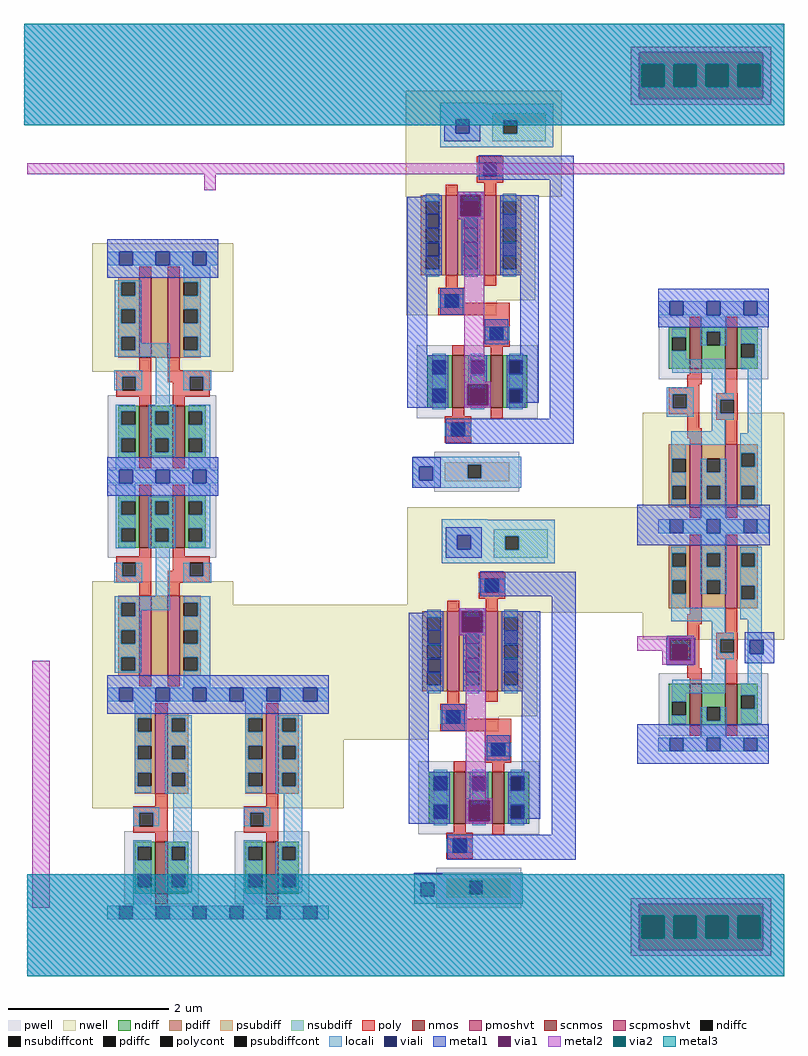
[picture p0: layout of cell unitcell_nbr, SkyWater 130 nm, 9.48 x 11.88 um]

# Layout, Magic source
magic
tech sky130A
magscale 1 2
<< nwell >>
rect -62 -444 416 -258
rect 762 -278 1020 -14
rect -62 -452 434 -444
rect 202 -594 434 -452
<< locali >>
rect 1234 -346 1272 -344
rect 1038 -358 1082 -356
rect 1038 -392 1043 -358
rect 1077 -392 1082 -358
rect 1234 -380 1236 -346
rect 1270 -380 1272 -346
rect 1234 -382 1272 -380
rect 1038 -394 1082 -392
<< viali >>
rect 1043 -392 1077 -358
rect 1236 -380 1270 -346
<< metal1 >>
rect -574 1120 1322 1192
rect -574 1004 961 1120
rect 1269 1004 1322 1120
rect -574 938 1322 1004
rect 956 -110 1286 -8
rect 1028 -344 1100 -340
rect 1028 -396 1037 -344
rect 1089 -396 1100 -344
rect 1028 -408 1100 -396
rect 1224 -346 1298 -326
rect 1224 -380 1236 -346
rect 1270 -380 1298 -346
rect 1224 -404 1298 -380
rect 956 -654 1284 -556
rect -566 -1004 1322 -930
rect -566 -1120 961 -1004
rect 1269 -1120 1322 -1004
rect -566 -1184 1322 -1120
<< via1 >>
rect 961 1004 1269 1120
rect 1037 -358 1089 -344
rect 1037 -392 1043 -358
rect 1043 -392 1077 -358
rect 1077 -392 1089 -358
rect 1037 -396 1089 -392
rect 961 -1120 1269 -1004
<< metal2 >>
rect 940 1120 1290 1134
rect 940 1004 961 1120
rect 1269 1004 1290 1120
rect 940 990 1290 1004
rect -566 816 1322 844
rect -124 776 -96 816
rect 956 -344 1098 -336
rect 956 -372 1037 -344
rect 1018 -396 1037 -372
rect 1089 -396 1098 -344
rect -554 -1014 -510 -398
rect 1018 -408 1098 -396
rect 940 -1004 1290 -990
rect 940 -1120 961 -1004
rect 1269 -1120 1290 -1004
rect 940 -1134 1290 -1120
<< via2 >>
rect 967 1034 1023 1090
rect 1047 1034 1103 1090
rect 1127 1034 1183 1090
rect 1207 1034 1263 1090
rect 967 -1090 1023 -1034
rect 1047 -1090 1103 -1034
rect 1127 -1090 1183 -1034
rect 1207 -1090 1263 -1034
<< metal3 >>
rect -574 1090 1322 1192
rect -574 1034 967 1090
rect 1023 1034 1047 1090
rect 1103 1034 1127 1090
rect 1183 1034 1207 1090
rect 1263 1034 1322 1090
rect -574 938 1322 1034
rect -566 -1034 1322 -930
rect -566 -1090 967 -1034
rect 1023 -1090 1047 -1034
rect 1103 -1090 1127 -1034
rect 1183 -1090 1207 -1034
rect 1263 -1090 1322 -1034
rect -566 -1185 1322 -1090
use mux  mux_0
transform 1 0 432 0 1 146
box -54 -122 366 878
use mux  mux_1
transform 1 0 436 0 1 -892
box -54 -122 366 878
use sky130_fd_sc_hd__buf_1  sky130_fd_sc_hd__buf_1_0
transform 1 0 1008 0 1 -606
box -38 -48 314 592
use sky130_fd_sc_hd__buf_1  sky130_fd_sc_hd__buf_1_1
transform 1 0 1008 0 -1 482
box -38 -48 314 592
use sky130_fd_sc_hd__inv_1#0  sky130_fd_sc_hd__inv_1_0
transform 1 0 -90 0 1 -1026
box -38 -48 314 592
use sky130_fd_sc_hd__inv_1#0  sky130_fd_sc_hd__inv_1_1
transform 1 0 -366 0 1 -1026
box -38 -48 314 592
use sky130_fd_sc_hd__nor2_1  sky130_fd_sc_hd__nor2_1_0
transform 1 0 -366 0 1 62
box -38 -48 314 592
use sky130_fd_sc_hd__nor2_1  sky130_fd_sc_hd__nor2_1_1
transform 1 0 -366 0 -1 62
box -38 -48 314 592
<< end >>

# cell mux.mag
magic
tech sky130A
magscale 1 2
<< nwell >>
rect -54 614 336 878
<< pwell >>
rect 18 -122 230 -22
<< psubdiff >>
rect 44 -54 204 -48
rect 44 -88 101 -54
rect 135 -88 204 -54
rect 44 -96 204 -88
<< nsubdiff >>
rect 162 805 296 822
rect 162 771 190 805
rect 224 771 296 805
rect 162 752 296 771
<< psubdiffcont >>
rect 101 -88 135 -54
<< nsubdiffcont >>
rect 190 771 224 805
<< poly >>
rect 28 318 206 350
rect 140 240 206 318
<< locali >>
rect 32 846 146 848
rect 32 807 314 846
rect 32 773 71 807
rect 105 805 314 807
rect 105 773 190 805
rect 32 771 190 773
rect 224 771 314 805
rect 32 738 314 771
rect -36 -54 234 -34
rect -36 -59 101 -54
rect -36 -93 -20 -59
rect 14 -88 101 -59
rect 135 -88 234 -54
rect 14 -93 234 -88
rect -36 -112 234 -93
<< viali >>
rect 71 773 105 807
rect -20 -93 14 -59
<< metal1 >>
rect 42 807 132 828
rect 42 773 71 807
rect 105 773 132 807
rect 42 752 132 773
rect 128 716 186 718
rect 128 656 366 716
rect 76 618 142 626
rect -50 218 0 614
rect 76 566 82 618
rect 134 566 142 618
rect 76 558 142 566
rect 188 418 278 618
rect 32 320 90 386
rect 144 246 202 308
rect -50 88 52 218
rect 92 146 158 152
rect 92 94 100 146
rect 152 94 158 146
rect 232 100 278 418
rect 92 88 158 94
rect 306 60 366 656
rect 46 -2 366 60
rect -38 -59 34 -36
rect -38 -93 -20 -59
rect 14 -93 34 -59
rect -38 -112 34 -93
<< via1 >>
rect 82 566 134 618
rect 100 94 152 146
<< metal2 >>
rect 76 618 142 626
rect 76 566 82 618
rect 134 566 142 618
rect 76 558 142 566
rect 92 152 142 558
rect 92 146 158 152
rect 92 94 100 146
rect 152 94 158 146
rect 92 88 158 94
use sky130_fd_pr__nfet_01v8_PX9ZJG  1
transform 1 0 125 0 1 153
box -151 -153 151 153
use sky130_fd_pr__pfet_01v8_hvt_SH6FHF  2
transform 1 0 109 0 1 518
box -161 -200 161 200
<< end >>

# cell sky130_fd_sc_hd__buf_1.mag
magic
tech sky130A
magscale 1 2
<< nwell >>
rect -38 261 314 582
<< pwell >>
rect 1 21 275 177
<< scnmos >>
rect 79 47 109 151
rect 167 47 197 151
<< scpmoshvt >>
rect 79 339 109 497
rect 167 339 197 497
<< ndiff >>
rect 27 106 79 151
rect 27 72 35 106
rect 69 72 79 106
rect 27 47 79 72
rect 109 93 167 151
rect 109 59 121 93
rect 155 59 167 93
rect 109 47 167 59
rect 197 123 249 151
rect 197 89 207 123
rect 241 89 249 123
rect 197 47 249 89
<< pdiff >>
rect 27 477 79 497
rect 27 443 35 477
rect 69 443 79 477
rect 27 409 79 443
rect 27 375 35 409
rect 69 375 79 409
rect 27 339 79 375
rect 109 477 167 497
rect 109 443 121 477
rect 155 443 167 477
rect 109 409 167 443
rect 109 375 121 409
rect 155 375 167 409
rect 109 339 167 375
rect 197 477 249 497
rect 197 443 207 477
rect 241 443 249 477
rect 197 396 249 443
rect 197 362 207 396
rect 241 362 249 396
rect 197 339 249 362
<< ndiffc >>
rect 35 72 69 106
rect 121 59 155 93
rect 207 89 241 123
<< pdiffc >>
rect 35 443 69 477
rect 35 375 69 409
rect 121 443 155 477
rect 121 375 155 409
rect 207 443 241 477
rect 207 362 241 396
<< poly >>
rect 79 497 109 523
rect 167 497 197 523
rect 79 324 109 339
rect 73 300 109 324
rect 73 265 103 300
rect 167 278 197 339
rect 27 249 103 265
rect 27 215 37 249
rect 71 215 103 249
rect 27 199 103 215
rect 145 262 199 278
rect 145 228 155 262
rect 189 228 199 262
rect 145 212 199 228
rect 73 190 103 199
rect 73 166 109 190
rect 79 151 109 166
rect 167 151 197 212
rect 79 21 109 47
rect 167 21 197 47
<< polycont >>
rect 37 215 71 249
rect 155 228 189 262
<< locali >>
rect 0 527 29 561
rect 63 527 121 561
rect 155 527 213 561
rect 247 527 276 561
rect 33 477 69 493
rect 33 443 35 477
rect 33 409 69 443
rect 33 375 35 409
rect 105 477 171 527
rect 105 443 121 477
rect 155 443 171 477
rect 105 409 171 443
rect 105 375 121 409
rect 155 375 171 409
rect 205 477 259 493
rect 205 443 207 477
rect 241 443 259 477
rect 205 396 259 443
rect 33 341 69 375
rect 205 362 207 396
rect 241 362 259 396
rect 33 307 168 341
rect 205 312 259 362
rect 134 278 168 307
rect 21 249 89 271
rect 21 215 37 249
rect 71 215 89 249
rect 21 197 89 215
rect 134 262 189 278
rect 134 228 155 262
rect 134 212 189 228
rect 134 161 168 212
rect 35 127 168 161
rect 223 152 259 312
rect 35 106 69 127
rect 207 123 259 152
rect 35 51 69 72
rect 105 59 121 93
rect 155 59 171 93
rect 105 17 171 59
rect 241 89 259 123
rect 207 51 259 89
rect 0 -17 29 17
rect 63 -17 121 17
rect 155 -17 213 17
rect 247 -17 276 17
<< viali >>
rect 29 527 63 561
rect 121 527 155 561
rect 213 527 247 561
rect 29 -17 63 17
rect 121 -17 155 17
rect 213 -17 247 17
<< metal1 >>
rect 0 561 276 592
rect 0 527 29 561
rect 63 527 121 561
rect 155 527 213 561
rect 247 527 276 561
rect 0 496 276 527
rect 0 17 276 48
rect 0 -17 29 17
rect 63 -17 121 17
rect 155 -17 213 17
rect 247 -17 276 17
rect 0 -48 276 -17
<< properties >>
string FIXED_BBOX 0 0 276 544
<< end >>

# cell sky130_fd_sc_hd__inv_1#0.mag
magic
tech sky130A
magscale 1 2
<< nwell >>
rect -38 261 314 582
<< pwell >>
rect 42 21 228 203
<< scnmos >>
rect 120 47 150 177
<< scpmoshvt >>
rect 120 297 150 497
<< ndiff >>
rect 68 165 120 177
rect 68 131 76 165
rect 110 131 120 165
rect 68 97 120 131
rect 68 63 76 97
rect 110 63 120 97
rect 68 47 120 63
rect 150 165 202 177
rect 150 131 160 165
rect 194 131 202 165
rect 150 97 202 131
rect 150 63 160 97
rect 194 63 202 97
rect 150 47 202 63
<< pdiff >>
rect 68 485 120 497
rect 68 451 76 485
rect 110 451 120 485
rect 68 417 120 451
rect 68 383 76 417
rect 110 383 120 417
rect 68 349 120 383
rect 68 315 76 349
rect 110 315 120 349
rect 68 297 120 315
rect 150 485 202 497
rect 150 451 160 485
rect 194 451 202 485
rect 150 417 202 451
rect 150 383 160 417
rect 194 383 202 417
rect 150 349 202 383
rect 150 315 160 349
rect 194 315 202 349
rect 150 297 202 315
<< ndiffc >>
rect 76 131 110 165
rect 76 63 110 97
rect 160 131 194 165
rect 160 63 194 97
<< pdiffc >>
rect 76 451 110 485
rect 76 383 110 417
rect 76 315 110 349
rect 160 451 194 485
rect 160 383 194 417
rect 160 315 194 349
<< poly >>
rect 120 497 150 523
rect 120 265 150 297
rect 64 249 150 265
rect 64 215 80 249
rect 114 215 150 249
rect 64 199 150 215
rect 120 177 150 199
rect 120 21 150 47
<< polycont >>
rect 80 215 114 249
<< locali >>
rect 0 527 29 561
rect 63 527 121 561
rect 155 527 213 561
rect 247 527 276 561
rect 68 485 110 527
rect 68 451 76 485
rect 68 417 110 451
rect 68 383 76 417
rect 68 349 110 383
rect 68 315 76 349
rect 68 299 110 315
rect 144 485 210 493
rect 144 451 160 485
rect 194 451 210 485
rect 144 417 210 451
rect 144 383 160 417
rect 194 383 210 417
rect 144 349 210 383
rect 144 315 160 349
rect 194 315 210 349
rect 144 297 210 315
rect 64 249 130 263
rect 64 215 80 249
rect 114 215 130 249
rect 64 165 110 181
rect 164 177 210 297
rect 64 131 76 165
rect 64 97 110 131
rect 64 63 76 97
rect 64 17 110 63
rect 144 165 210 177
rect 144 131 160 165
rect 194 131 210 165
rect 144 97 210 131
rect 144 63 160 97
rect 194 63 210 97
rect 144 51 210 63
rect 0 -17 29 17
rect 63 -17 121 17
rect 155 -17 213 17
rect 247 -17 276 17
<< viali >>
rect 29 527 63 561
rect 121 527 155 561
rect 213 527 247 561
rect 29 -17 63 17
rect 121 -17 155 17
rect 213 -17 247 17
<< metal1 >>
rect 0 561 276 592
rect 0 527 29 561
rect 63 527 121 561
rect 155 527 213 561
rect 247 527 276 561
rect 0 496 276 527
rect 0 17 276 48
rect 0 -17 29 17
rect 63 -17 121 17
rect 155 -17 213 17
rect 247 -17 276 17
rect 0 -48 276 -17
<< properties >>
string FIXED_BBOX 0 0 276 544
<< end >>

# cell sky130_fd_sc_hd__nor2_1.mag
magic
tech sky130A
magscale 1 2
<< nwell >>
rect -38 261 314 582
<< pwell >>
rect 1 21 271 203
<< scnmos >>
rect 79 47 109 177
rect 163 47 193 177
<< scpmoshvt >>
rect 79 297 109 497
rect 151 297 181 497
<< ndiff >>
rect 27 163 79 177
rect 27 129 35 163
rect 69 129 79 163
rect 27 95 79 129
rect 27 61 35 95
rect 69 61 79 95
rect 27 47 79 61
rect 109 163 163 177
rect 109 129 119 163
rect 153 129 163 163
rect 109 95 163 129
rect 109 61 119 95
rect 153 61 163 95
rect 109 47 163 61
rect 193 163 245 177
rect 193 129 203 163
rect 237 129 245 163
rect 193 95 245 129
rect 193 61 203 95
rect 237 61 245 95
rect 193 47 245 61
<< pdiff >>
rect 27 485 79 497
rect 27 451 35 485
rect 69 451 79 485
rect 27 417 79 451
rect 27 383 35 417
rect 69 383 79 417
rect 27 349 79 383
rect 27 315 35 349
rect 69 315 79 349
rect 27 297 79 315
rect 109 297 151 497
rect 181 485 233 497
rect 181 451 191 485
rect 225 451 233 485
rect 181 417 233 451
rect 181 383 191 417
rect 225 383 233 417
rect 181 349 233 383
rect 181 315 191 349
rect 225 315 233 349
rect 181 297 233 315
<< ndiffc >>
rect 35 129 69 163
rect 35 61 69 95
rect 119 129 153 163
rect 119 61 153 95
rect 203 129 237 163
rect 203 61 237 95
<< pdiffc >>
rect 35 451 69 485
rect 35 383 69 417
rect 35 315 69 349
rect 191 451 225 485
rect 191 383 225 417
rect 191 315 225 349
<< poly >>
rect 79 497 109 523
rect 151 497 181 523
rect 79 265 109 297
rect 22 249 109 265
rect 22 215 37 249
rect 71 215 109 249
rect 151 265 181 297
rect 151 249 255 265
rect 151 235 205 249
rect 22 199 109 215
rect 79 177 109 199
rect 163 215 205 235
rect 239 215 255 249
rect 163 199 255 215
rect 163 177 193 199
rect 79 21 109 47
rect 163 21 193 47
<< polycont >>
rect 37 215 71 249
rect 205 215 239 249
<< locali >>
rect 0 527 29 561
rect 63 527 121 561
rect 155 527 213 561
rect 247 527 276 561
rect 19 485 85 490
rect 19 451 35 485
rect 69 451 85 485
rect 19 417 85 451
rect 19 383 35 417
rect 69 383 85 417
rect 19 349 85 383
rect 19 315 35 349
rect 69 333 85 349
rect 191 485 257 527
rect 225 451 257 485
rect 191 417 257 451
rect 225 383 257 417
rect 191 349 257 383
rect 69 315 155 333
rect 19 299 155 315
rect 225 315 257 349
rect 191 299 257 315
rect 17 249 87 265
rect 17 215 37 249
rect 71 215 87 249
rect 121 179 155 299
rect 189 249 259 265
rect 189 215 205 249
rect 239 215 259 249
rect 21 163 69 179
rect 21 129 35 163
rect 21 95 69 129
rect 21 61 35 95
rect 21 17 69 61
rect 103 163 169 179
rect 103 129 119 163
rect 153 129 169 163
rect 103 95 169 129
rect 103 61 119 95
rect 153 61 169 95
rect 103 51 169 61
rect 203 163 257 179
rect 237 129 257 163
rect 203 95 257 129
rect 237 61 257 95
rect 203 17 257 61
rect 0 -17 29 17
rect 63 -17 121 17
rect 155 -17 213 17
rect 247 -17 276 17
<< viali >>
rect 29 527 63 561
rect 121 527 155 561
rect 213 527 247 561
rect 29 -17 63 17
rect 121 -17 155 17
rect 213 -17 247 17
<< metal1 >>
rect 0 561 276 592
rect 0 527 29 561
rect 63 527 121 561
rect 155 527 213 561
rect 247 527 276 561
rect 0 496 276 527
rect 0 17 276 48
rect 0 -17 29 17
rect 63 -17 121 17
rect 155 -17 213 17
rect 247 -17 276 17
rect 0 -48 276 -17
<< properties >>
string FIXED_BBOX 0 0 276 544
<< end >>

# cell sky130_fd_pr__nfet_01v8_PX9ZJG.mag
magic
tech sky130A
magscale 1 2
<< pwell >>
rect -151 -91 151 91
<< nmos >>
rect -63 -65 -33 65
rect 33 -65 63 65
<< ndiff >>
rect -125 51 -63 65
rect -125 17 -113 51
rect -79 17 -63 51
rect -125 -17 -63 17
rect -125 -51 -113 -17
rect -79 -51 -63 -17
rect -125 -65 -63 -51
rect -33 51 33 65
rect -33 17 -17 51
rect 17 17 33 51
rect -33 -17 33 17
rect -33 -51 -17 -17
rect 17 -51 33 -17
rect -33 -65 33 -51
rect 63 51 125 65
rect 63 17 79 51
rect 113 17 125 51
rect 63 -17 125 17
rect 63 -51 79 -17
rect 113 -51 125 -17
rect 63 -65 125 -51
<< ndiffc >>
rect -113 17 -79 51
rect -113 -51 -79 -17
rect -17 17 17 51
rect -17 -51 17 -17
rect 79 17 113 51
rect 79 -51 113 -17
<< poly >>
rect 15 137 81 153
rect 15 103 31 137
rect 65 103 81 137
rect -63 65 -33 91
rect 15 87 81 103
rect 33 65 63 87
rect -63 -87 -33 -65
rect -81 -103 -15 -87
rect 33 -91 63 -65
rect -81 -137 -65 -103
rect -31 -137 -15 -103
rect -81 -153 -15 -137
<< polycont >>
rect 31 103 65 137
rect -65 -137 -31 -103
<< locali >>
rect 15 103 31 137
rect 65 103 81 137
rect -113 53 -79 69
rect -113 -17 -79 17
rect -113 -69 -79 -53
rect -17 53 17 69
rect -17 -17 17 17
rect -17 -69 17 -53
rect 79 53 113 69
rect 79 -17 113 17
rect 79 -69 113 -53
rect -81 -137 -65 -103
rect -31 -137 -15 -103
<< viali >>
rect 31 103 65 137
rect -113 51 -79 53
rect -113 19 -79 51
rect -113 -51 -79 -19
rect -113 -53 -79 -51
rect -17 51 17 53
rect -17 19 17 51
rect -17 -51 17 -19
rect -17 -53 17 -51
rect 79 51 113 53
rect 79 19 113 51
rect 79 -51 113 -19
rect 79 -53 113 -51
rect -65 -137 -31 -103
<< metal1 >>
rect 19 137 77 143
rect 19 103 31 137
rect 65 103 77 137
rect 19 97 77 103
rect -119 53 -73 65
rect -119 19 -113 53
rect -79 19 -73 53
rect -119 -19 -73 19
rect -119 -53 -113 -19
rect -79 -53 -73 -19
rect -119 -65 -73 -53
rect -23 53 23 65
rect -23 19 -17 53
rect 17 19 23 53
rect -23 -19 23 19
rect -23 -53 -17 -19
rect 17 -53 23 -19
rect -23 -65 23 -53
rect 73 53 119 65
rect 73 19 79 53
rect 113 19 119 53
rect 73 -19 119 19
rect 73 -53 79 -19
rect 113 -53 119 -19
rect 73 -65 119 -53
rect -77 -103 -19 -97
rect -77 -137 -65 -103
rect -31 -137 -19 -103
rect -77 -143 -19 -137
<< end >>

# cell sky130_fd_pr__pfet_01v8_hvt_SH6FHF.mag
magic
tech sky130A
magscale 1 2
<< nwell >>
rect -65 162 161 200
rect -161 -162 161 162
rect -161 -200 65 -162
<< pmoshvt >>
rect -63 -100 -33 100
rect 33 -100 63 100
<< pdiff >>
rect -125 85 -63 100
rect -125 51 -113 85
rect -79 51 -63 85
rect -125 17 -63 51
rect -125 -17 -113 17
rect -79 -17 -63 17
rect -125 -51 -63 -17
rect -125 -85 -113 -51
rect -79 -85 -63 -51
rect -125 -100 -63 -85
rect -33 85 33 100
rect -33 51 -17 85
rect 17 51 33 85
rect -33 17 33 51
rect -33 -17 -17 17
rect 17 -17 33 17
rect -33 -51 33 -17
rect -33 -85 -17 -51
rect 17 -85 33 -51
rect -33 -100 33 -85
rect 63 85 125 100
rect 63 51 79 85
rect 113 51 125 85
rect 63 17 125 51
rect 63 -17 79 17
rect 113 -17 125 17
rect 63 -51 125 -17
rect 63 -85 79 -51
rect 113 -85 125 -51
rect 63 -100 125 -85
<< pdiffc >>
rect -113 51 -79 85
rect -113 -17 -79 17
rect -113 -85 -79 -51
rect -17 51 17 85
rect -17 -17 17 17
rect -17 -85 17 -51
rect 79 51 113 85
rect 79 -17 113 17
rect 79 -85 113 -51
<< poly >>
rect 15 181 81 197
rect 15 147 31 181
rect 65 147 81 181
rect 15 131 81 147
rect -63 100 -33 126
rect 33 100 63 131
rect -63 -131 -33 -100
rect 33 -126 63 -100
rect -81 -147 -15 -131
rect -81 -181 -65 -147
rect -31 -181 -15 -147
rect -81 -197 -15 -181
<< polycont >>
rect 31 147 65 181
rect -65 -181 -31 -147
<< locali >>
rect 15 147 31 181
rect 65 147 81 181
rect -113 85 -79 104
rect -113 17 -79 19
rect -113 -19 -79 -17
rect -113 -104 -79 -85
rect -17 85 17 104
rect -17 17 17 19
rect -17 -19 17 -17
rect -17 -104 17 -85
rect 79 85 113 104
rect 79 17 113 19
rect 79 -19 113 -17
rect 79 -104 113 -85
rect -81 -181 -65 -147
rect -31 -181 -15 -147
<< viali >>
rect 31 147 65 181
rect -113 51 -79 53
rect -113 19 -79 51
rect -113 -51 -79 -19
rect -113 -53 -79 -51
rect -17 51 17 53
rect -17 19 17 51
rect -17 -51 17 -19
rect -17 -53 17 -51
rect 79 51 113 53
rect 79 19 113 51
rect 79 -51 113 -19
rect 79 -53 113 -51
rect -65 -181 -31 -147
<< metal1 >>
rect 19 181 77 187
rect 19 147 31 181
rect 65 147 77 181
rect 19 141 77 147
rect -119 53 -73 100
rect -119 19 -113 53
rect -79 19 -73 53
rect -119 -19 -73 19
rect -119 -53 -113 -19
rect -79 -53 -73 -19
rect -119 -100 -73 -53
rect -23 53 23 100
rect -23 19 -17 53
rect 17 19 23 53
rect -23 -19 23 19
rect -23 -53 -17 -19
rect 17 -53 23 -19
rect -23 -100 23 -53
rect 73 53 119 100
rect 73 19 79 53
rect 113 19 119 53
rect 73 -19 119 19
rect 73 -53 79 -19
rect 113 -53 119 -19
rect 73 -100 119 -53
rect -77 -147 -19 -141
rect -77 -181 -65 -147
rect -31 -181 -19 -147
rect -77 -187 -19 -181
<< end >>
